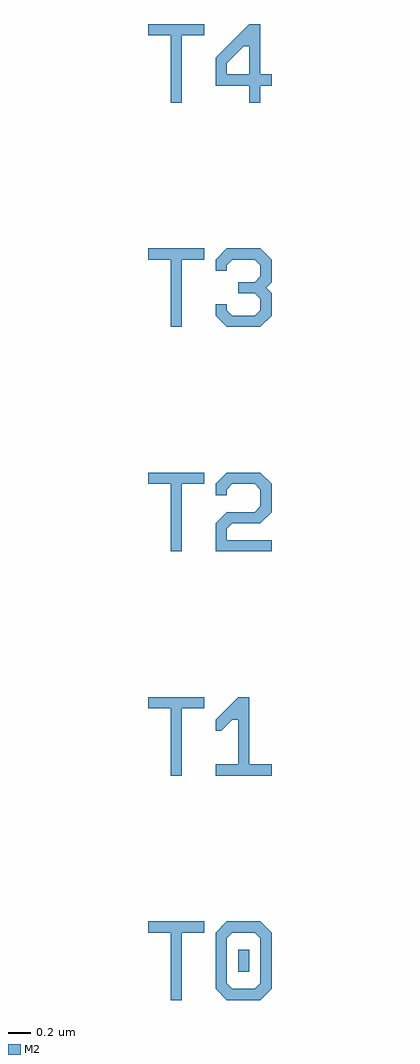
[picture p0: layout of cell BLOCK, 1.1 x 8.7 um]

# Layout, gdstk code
import gdstk
lib = gdstk.Library(unit=1e-6, precision=1e-09)
def R(c, l, rs):  # rectangles x0, y0, x1, y1
    for r in rs: c.add(gdstk.rectangle(r[:2], r[2:], *l))
def P(c, l, *ps):  # polygons
    for p in ps: c.add(gdstk.Polygon(p, *l))
M2 = (2, 0)

text = lib.new_cell('TEXT')
R(text, M2, [(0.8,0.25,0.9,0.45)])
P(text, M2, [(0.2,0),(0.2,0.6),(0,0.6),(0,0.7),(0.5,0.7),(0.5,0.6),(0.3,0.6),(0.3,0)],
  [(0.7,0),(0.6,0.1),(0.6,0.6),(0.7,0.7),(1,0.7),(1.1,0.6),(0.75,0.6),(0.7,0.55),(0.7,0.15),(0.75,0.1),(0.95,0.1),(1,0.15),(1,0.55),(0.95,0.6),(1.1,0.6),(1.1,0.1),(1,0)])

text_1 = lib.new_cell('TEXT$1')
P(text_1, M2, [(0.2,0),(0.2,0.6),(0,0.6),(0,0.7),(0.5,0.7),(0.5,0.6),(0.3,0.6),(0.3,0)],
  [(0.6,0),(0.6,0.1),(0.8,0.1),(0.8,0.5),(0.75,0.5),(0.65,0.4),(0.6,0.4),(0.6,0.5),(0.8,0.7),(0.9,0.7),(0.9,0.1),(1.1,0.1),(1.1,0)])

text_2 = lib.new_cell('TEXT$2')
P(text_2, M2, [(0.2,0),(0.2,0.6),(0,0.6),(0,0.7),(0.5,0.7),(0.5,0.6),(0.3,0.6),(0.3,0)],
  [(0.6,0),(0.6,0.25),(0.7,0.35),(0.95,0.35),(1,0.4),(1,0.55),(0.95,0.6),(0.75,0.6),(0.7,0.55),(0.7,0.5),(0.6,0.5),(0.6,0.6),(0.7,0.7),(1,0.7),(1.1,0.6),(1.1,0.35),(1,0.25),(0.75,0.25),(0.7,0.2),(0.7,0.1),(1.1,0.1),(1.1,0)])

text_3 = lib.new_cell('TEXT$3')
P(text_3, M2, [(0.2,0),(0.2,0.6),(0,0.6),(0,0.7),(0.5,0.7),(0.5,0.6),(0.3,0.6),(0.3,0)],
  [(0.7,0),(0.6,0.1),(0.6,0.2),(0.7,0.2),(0.7,0.15),(0.75,0.1),(0.95,0.1),(1,0.15),(1,0.25),(0.95,0.3),(0.8,0.3),(0.8,0.4),(0.95,0.4),(1,0.45),(1,0.55),(0.95,0.6),(0.75,0.6),(0.7,0.55),(0.7,0.5),(0.6,0.5),(0.6,0.6),(0.7,0.7),(1,0.7),(1.1,0.6),(1.1,0.4),(1.05,0.35),(1.1,0.3),(1.1,0.1),(1,0)])

text_4 = lib.new_cell('TEXT$4')
P(text_4, M2, [(0.2,0),(0.2,0.6),(0,0.6),(0,0.7),(0.5,0.7),(0.5,0.6),(0.3,0.6),(0.3,0)],
  [(0.9,0),(0.9,0.15),(0.6,0.15),(0.6,0.25),(0.9,0.25),(0.9,0.5),(0.85,0.5),(0.7,0.35),(0.7,0.25),(0.6,0.25),(0.6,0.4),(0.9,0.7),(1,0.7),(1,0.25),(1.1,0.25),(1.1,0.15),(1,0.15),(1,0)])

block = lib.new_cell('BLOCK')
block.add(gdstk.Reference(text, (0,0)))
block.add(gdstk.Reference(text_1, (0,2)))
block.add(gdstk.Reference(text_2, (0,4)))
block.add(gdstk.Reference(text_3, (0,6)))
block.add(gdstk.Reference(text_4, (0,8)))

lib.write_gds('BLOCK.gds')
